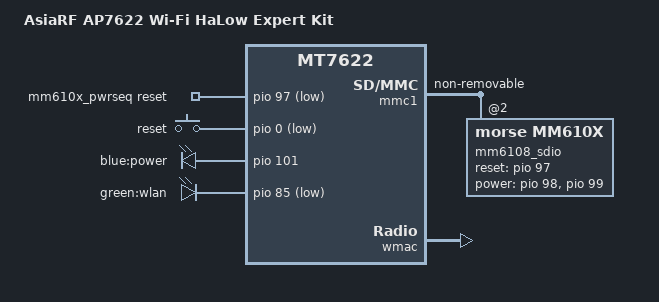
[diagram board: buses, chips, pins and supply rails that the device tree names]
/dts-v1/;

#include "mt7622-rfb1-ubi.dts"

/ {
    model = "AsiaRF AP7622 Wi-Fi HaLow Expert Kit";
	compatible = "asiarf,ap7622-wh1", "mediatek,mt7622";

    aliases {
        led-boot = &led_power;
        led-failsafe = &led_power;
        led-running = &led_power;
        led-upgrade = &led_power;
    };

	// Necessary to power on mm6108.
	mm610x_pwrseq: mm610x_pwrseq {
		compatible = "mmc-pwrseq-simple";
		reset-gpios = <&pio 97 GPIO_ACTIVE_LOW>;
	};

    gpio-keys {
        compatible = "gpio-keys";

		// Hint: Replace factory node for reset node.
		/delete-node/ factory; // Free gpio0
		reset {
			label = "reset";
			linux,code = <KEY_RESTART>;
			gpios = <&pio 0 GPIO_ACTIVE_LOW>;
		};
	};

	leds {
		compatible = "gpio-leds";
		status = "okay";

		led_power: power {
			label = "blue:power";
			gpios = <&pio 101 GPIO_ACTIVE_HIGH>;
		};

		wlan {
			label = "green:wlan";
			gpios = <&pio 85 GPIO_ACTIVE_LOW>;
            linux,default-trigger = "phy1tpt";
		};
	};
};

&rtc {
    status = "disabled";

    /* No externel RTC clock */
};


&pwm {
    status = "disabled";
};

//Group		gpio	description
//-----		------  ----------
//WLED_N    #85		on board wifi led
//PWM7		#101	power led

&pio {
	led_pins: led_pins {
		gpio {
			groups = "PWM7", "WLED_N";
			function = "gpio";
		};
	};
};

&mmc1 {
	keep-power-in-suspend;	// no power saving

	cd-gpios;
    cap-mmc-highspeed;
    cap-sdio-irq;
    non-removable;
    disable-wp;
	no-mmc;
	no-sd;
	enable-sdio-wakeup;
	drv-type = <2>;
	mmc-pwrseq = <&mm610x_pwrseq>;

    #address-cells = <1>;
    #size-cells = <0>;
    mm6108_sdio: mm6108_sdio@0 {
        compatible = "morse,mm610x";
        reset-gpios = <&pio 97 GPIO_ACTIVE_HIGH>; // MM_RESET PIN from (GPIO 97)
        power-gpios = <&pio 98 GPIO_ACTIVE_HIGH>, // MM_WAKE  PIN from (GPIO 98)
					<&pio 99 GPIO_ACTIVE_HIGH>;	  // MM_BUSY  PIN from (GPIO 99)
        status = "okay";
		reg = <2>;
        bus-width = <4>;
    };
};

&wmac {
	// Remove ePA/eLNA pinctrl for morse
	/delete-property/ pinctrl-names;
	/delete-property/ pinctrl-0;
};
